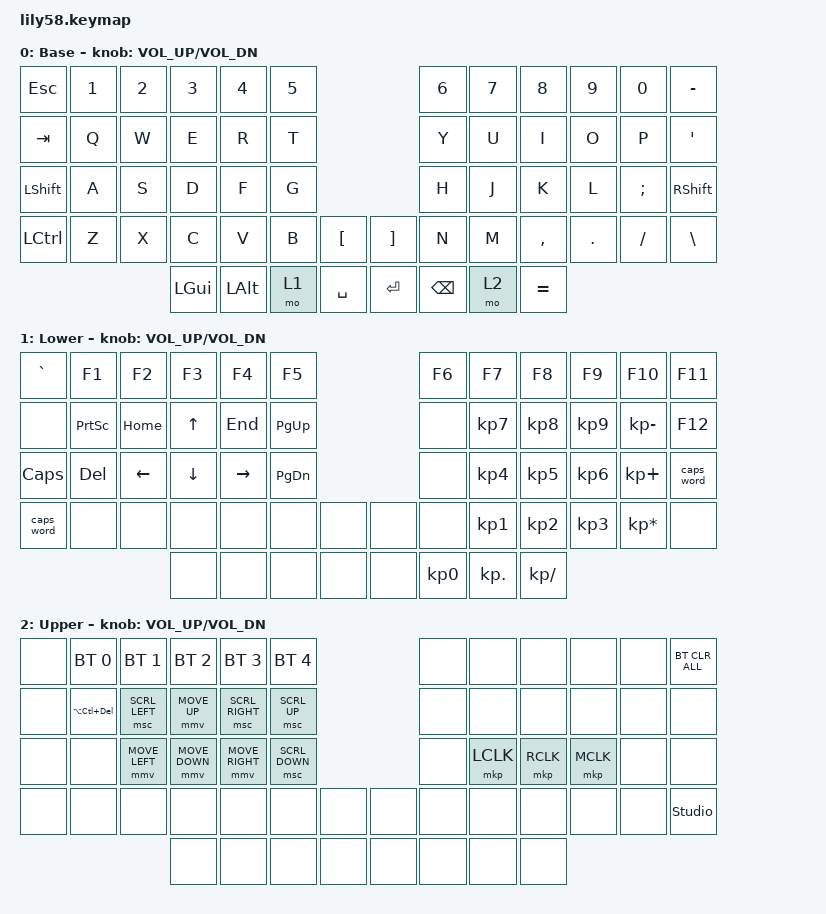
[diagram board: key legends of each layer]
/*
 * Copyright (c) 2020 The ZMK Contributors
 *
 * SPDX-License-Identifier: MIT
 */

#include <behaviors.dtsi>
#include <dt-bindings/zmk/bt.h>
#include <dt-bindings/zmk/keys.h>
#include <dt-bindings/zmk/pointing.h>

#define default_layer 0
#define lower_layer 1
#define raise_layer 2
#define adjust_layer 3
#define extra_layer 4

/ {
    keymap {
        compatible = "zmk,keymap";

        default_layer {
            display-name = "Base";

            // ------------------------------------------------------------------------------------------------------------
            // |  ESC  |  1  |  2  |  3   |  4   |  5   |                   |  6   |  7    |  8    |  9   |   0   |   `   |
            // |  TAB  |  Q  |  W  |  E   |  R   |  T   |                   |  Y   |  U    |  I    |  O   |   P   |   -   |
            // |  CTRL |  A  |  S  |  D   |  F   |  G   |                   |  H   |  J    |  K    |  L   |   ;   |   '   |
            // | SHIFT |  Z  |  X  |  C   |  V   |  B   |   "["  |  |  "]"  |  N   |  M    |  ,    |  .   |   /   | SHIFT |
            //                     | ALT  | GUI  | LOWER|  SPACE |  | ENTER | RAISE| BSPC  | GUI   |

            bindings = <
&kp ESC           &kp N1  &kp N2  &kp N3        &kp N4        &kp N5                         &kp N6         &kp N7  &kp N8     &kp N9   &kp N0    &kp MINUS
&kp TAB           &kp Q   &kp W   &kp E         &kp R         &kp T                          &kp Y          &kp U   &kp I      &kp O    &kp P     &kp APOS
&kp LEFT_SHIFT    &kp A   &kp S   &kp D         &kp F         &kp G                          &kp H          &kp J   &kp K      &kp L    &kp SEMI  &kp RIGHT_SHIFT
&kp LEFT_CONTROL  &kp Z   &kp X   &kp C         &kp V         &kp B   &kp LBKT     &kp RBKT  &kp N          &kp M   &kp COMMA  &kp DOT  &kp FSLH  &kp BSLH
                                  &kp LEFT_GUI  &kp LEFT_ALT  &mo 1   &kp SPACE    &kp RET   &kp BACKSPACE  &mo 2   &kp EQUAL
            >;

            sensor-bindings = <&inc_dec_kp C_VOL_UP C_VOL_DN>;
        };

        lower_layer {
            display-name = "Lower";

            // ------------------------------------------------------------------------------------------------------------
            // | BTCLR | BT1 | BT2 |  BT3 |  BT4 |  BT5 |                   |      |       |       |      |       |       |
            // |  F1   |  F2 |  F3 |  F4  |  F5  |  F6  |                   |  F7  |  F8   |  F9   |  F10 |  F11  |  F12  |
            // |   `   |  !  |  @  |  #   |  $   |  %   |                   |  ^   |  &    |  *    |  (   |   )   |   ~   |
            // |       |     |     |      |      |      |        |  |       |      |  _    |  +    |  {   |   }   |  "|"  |
            //                     |      |      |      |        |  |       |      |       |       |

            bindings = <
&kp GRAVE   &kp F1           &kp F2    &kp F3          &kp F4           &kp F5                         &kp F6     &kp F7      &kp F8         &kp F9     &kp F10          &kp F11
&none       &kp PRINTSCREEN  &kp HOME  &kp UP_ARROW    &kp END          &kp PAGE_UP                    &none      &kp KP_N7   &kp KP_N8      &kp KP_N9  &kp KP_MINUS     &kp F12
&kp CAPS    &kp DELETE       &kp LEFT  &kp DOWN_ARROW  &kp RIGHT_ARROW  &kp PAGE_DOWN                  &none      &kp KP_N4   &kp KP_N5      &kp KP_N6  &kp KP_PLUS      &caps_word
&caps_word  &none            &none     &none           &none            &none          &none    &none  &none      &kp KP_N1   &kp KP_N2      &kp KP_N3  &kp KP_MULTIPLY  &none
                                       &none           &none            &none          &none    &none  &kp KP_N0  &kp KP_DOT  &kp KP_DIVIDE
            >;

            sensor-bindings = <&inc_dec_kp C_VOL_UP C_VOL_DN>;
        };

        upper_layer {
            display-name = "Upper";

            // ------------------------------------------------------------------------------------------------------------
            // |       |     |     |      |      |      |                   |      |       |       |      |       |       |
            // |   `   |  1  |  2  |  3   |  4   |  5   |                   |  6   |   7   |   8   |  9   |   0   |       |
            // |   F1  |  F2 |  F3 |  F4  |  F5  |  F6  |                   |      |   <-  |   v   |  ^   |  ->   |       |
            // |   F7  |  F8 |  F9 |  F10 |  F11 |  F12 |        |  |       |  +   |   -   |   =   |  [   |   ]   |   \   |
            //                     |      |      |      |        |  |       |      |       |       |

            bindings = <
&none  &bt BT_SEL 0     &bt BT_SEL 1    &bt BT_SEL 2    &bt BT_SEL 3     &bt BT_SEL 4                    &none  &none      &none      &none      &none  &bt BT_CLR_ALL
&none  &kp LA(LC(DEL))  &msc SCRL_LEFT  &mmv MOVE_UP    &msc SCRL_RIGHT  &msc SCRL_UP                    &none  &none      &none      &none      &none  &none
&none  &none            &mmv MOVE_LEFT  &mmv MOVE_DOWN  &mmv MOVE_RIGHT  &msc SCRL_DOWN                  &none  &mkp LCLK  &mkp RCLK  &mkp MCLK  &none  &none
&none  &none            &none           &none           &none            &none           &none    &none  &none  &none      &none      &none      &none  &studio_unlock
                                        &none           &none            &none           &none    &none  &none  &none      &none
            >;

            sensor-bindings = <&inc_dec_kp C_VOL_UP C_VOL_DN>;
        };
    };
};
